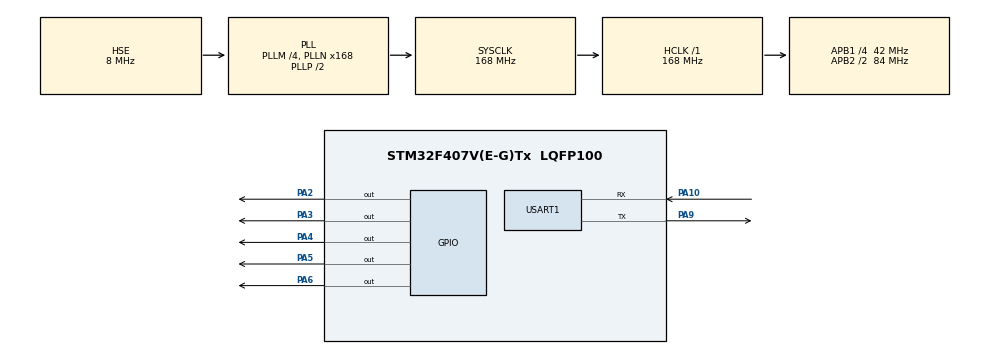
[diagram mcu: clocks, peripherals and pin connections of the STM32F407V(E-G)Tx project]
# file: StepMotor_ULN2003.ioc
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Mcu.Family=STM32F4
Mcu.Name=STM32F407V(E-G)Tx
Mcu.Package=LQFP100
NVIC.PriorityGroup=NVIC_PRIORITYGROUP_4
NVIC.TIM4_IRQn=true\:0\:0\:false\:false\:true\:true\:true\:true
NVIC.TIM8_TRG_COM_TIM14_IRQn=true\:15\:0\:false\:false\:true\:false\:true\:true
NVIC.TimeBase=TIM8_TRG_COM_TIM14_IRQn
NVIC.TimeBaseIP=TIM14
NVIC.USART1_IRQn=true\:0\:0\:false\:false\:true\:true\:true\:true
PA10.Mode=Asynchronous
PA10.Signal=USART1_RX
PA13.Mode=Serial_Wire
PA13.Signal=SYS_JTMS-SWDIO
PA14.Mode=Serial_Wire
PA14.Signal=SYS_JTCK-SWCLK
PA2.PinState=GPIO_PIN_RESET
PA2.Signal=GPIO_Output
PA3.PinState=GPIO_PIN_SET
PA3.Signal=GPIO_Output
PA4.PinState=GPIO_PIN_SET
PA4.Signal=GPIO_Output
PA5.PinState=GPIO_PIN_SET
PA5.Signal=GPIO_Output
PA6.PinState=GPIO_PIN_SET
PA6.Signal=GPIO_Output
PA9.Mode=Asynchronous
PA9.Signal=USART1_TX
PH0-OSC_IN.Mode=HSE-External-Oscillator
PH0-OSC_IN.Signal=RCC_OSC_IN
PH1-OSC_OUT.Mode=HSE-External-Oscillator
PH1-OSC_OUT.Signal=RCC_OSC_OUT
ProjectManager.HeapSize=0x200
ProjectManager.StackSize=0x400
ProjectManager.TargetToolchain=STM32CubeIDE
RCC.48MHZClocksFreq_Value=84000000
RCC.AHBFreq_Value=168000000
RCC.APB1CLKDivider=RCC_HCLK_DIV4
RCC.APB1Freq_Value=42000000
RCC.APB1TimFreq_Value=84000000
RCC.APB2CLKDivider=RCC_HCLK_DIV2
RCC.APB2Freq_Value=84000000
RCC.APB2TimFreq_Value=168000000
RCC.CortexFreq_Value=168000000
RCC.HCLKFreq_Value=168000000
RCC.HSE_VALUE=8000000
RCC.HSI_VALUE=16000000
RCC.LSE_VALUE=32768
RCC.PLLM=4
RCC.PLLN=168
RCC.PLLSourceVirtual=RCC_PLLSOURCE_HSE
RCC.SYSCLKFreq_VALUE=168000000
RCC.SYSCLKSource=RCC_SYSCLKSOURCE_PLLCLK
RCC.VCOOutputFreq_Value=336000000
TIM4.Period=2000-1
TIM4.Prescaler=42000
USART1.VirtualMode=VM_ASYNC
VP_SYS_VS_tim14.Mode=TIM14
VP_TIM4_VS_ClockSourceINT.Mode=Internal
board=custom

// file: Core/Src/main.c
/* USER CODE BEGIN Header */
/**
  ******************************************************************************
  * @file           : main.c
  * @brief          : Main program body
  ******************************************************************************
  * @attention
  *
  * Copyright (c) 2025 STMicroelectronics.
  * All rights reserved.
  *
  * This software is licensed under terms that can be found in the LICENSE file
  * in the root directory of this software component.
  * If no LICENSE file comes with this software, it is provided AS-IS.
  *
  ******************************************************************************
  */
/* USER CODE END Header */
#include "main.h"

/* USER CODE BEGIN Includes */
#include <stdbool.h>
/* USER CODE END Includes */

TIM_HandleTypeDef htim4;

UART_HandleTypeDef huart1;

/* USER CODE BEGIN PV */
int phase = 0;
int _step = -1; // Если у шага поменять знак, на -1 - изменится направление вращения.
//uint32_t step = 0;
/* USER CODE END PV */

void SystemClock_Config(void);
static void MX_GPIO_Init(void);
static void MX_TIM4_Init(void);
static void MX_USART1_UART_Init(void);
/* USER CODE BEGIN PFP */
void init(void);
void loop(void);
/* USER CODE END PFP */

/* USER CODE BEGIN 0 */
//
void init()
{
	HAL_TIM_Base_Start_IT(&htim4);

	return;
}

//
void loop()
{
	// https://codius.ru/articles/Arduino_Uno_%D1%88%D0%B0%D0%B3%D0%BE%D0%B2%D1%8B%D0%B9_%D0%B4%D0%B2%D0%B8%D0%B3%D0%B0%D1%82%D0%B5%D0%BB%D1%8C_28BYJ_48_5V_%D0%B4%D1%80%D0%B0%D0%B9%D0%B2%D0%B5%D1%80_ULN2003_%D0%BD%D0%B0_%D0%BC%D0%BE%D0%B4%D1%83%D0%BB%D0%B5_SBT0811
	uint16_t pins[] = {  //Задаем пины по порядку
			GPIO_PIN_2, // In1
			GPIO_PIN_3, // In2
			GPIO_PIN_4, // In3
			GPIO_PIN_5  // In4
	};

//	int phases = 8; // для шагового режима установить 4

	// Для шагового режима
//	bool motorPhases[4][4] = { // [phase][pin]
//	// -------- pins ----------
//	// Winding    A  B  A  B
//	// Motor Pin  1  2  3  4
//	  {           1, 1, 0, 0},
//	  {           0, 1, 1, 0},
//	  {           0, 0, 1, 1},
//	  {           1, 0, 0, 1}
//	};

	// Для полушагового режима
	bool motorPhases[8][4] = { // [phase][pin]
	  // -------- pins ----------
	  // Winding    A  B  A  B
	  // Motor Pin  1  2  3  4
	  {             1, 1, 0, 0},
	  {             0, 1, 0, 0},
	  {             0, 1, 1, 0},
	  {             0, 0, 1, 0},
	  {             0, 0, 1, 1},
	  {             0, 0, 0, 1},
	  {             1, 0, 0, 1},
	  {             1, 0, 0, 0}
	};

	phase += _step;

	if (phase > 7) phase = 0;
	if (phase < 0) phase = 7;

	for (int i = 0; i < 4; i++) {
		HAL_GPIO_WritePin(GPIOA, pins[i], ((motorPhases[phase][i] == 1) ? GPIO_PIN_RESET : GPIO_PIN_SET));
	}
	// Пауза на вращение на один шаг/полушаг
	// Для шагового режима установить в 3
	HAL_Delay(2);

	return;
}
/* USER CODE END 0 */

int main(void)
{

  /* MCU Configuration--------------------------------------------------------*/

  /* Reset of all peripherals, Initializes the Flash interface and the Systick. */
  HAL_Init();

  /* Configure the system clock */
  SystemClock_Config();

  /* Initialize all configured peripherals */
  MX_GPIO_Init();
  MX_TIM4_Init();
  MX_USART1_UART_Init();
  /* USER CODE BEGIN 2 */
  init();
  /* USER CODE END 2 */

  /* Infinite loop */
  /* USER CODE BEGIN WHILE */
  while (1)
  {
	loop();
    /* USER CODE END WHILE */

  }
}

void SystemClock_Config(void)
{
  RCC_OscInitTypeDef RCC_OscInitStruct = {0};
  RCC_ClkInitTypeDef RCC_ClkInitStruct = {0};

  /** Configure the main internal regulator output voltage
  */
  __HAL_RCC_PWR_CLK_ENABLE();
  __HAL_PWR_VOLTAGESCALING_CONFIG(PWR_REGULATOR_VOLTAGE_SCALE1);

  /** Initializes the RCC Oscillators according to the specified parameters
  * in the RCC_OscInitTypeDef structure.
  */
  RCC_OscInitStruct.OscillatorType = RCC_OSCILLATORTYPE_HSE;
  RCC_OscInitStruct.HSEState = RCC_HSE_ON;
  RCC_OscInitStruct.PLL.PLLState = RCC_PLL_ON;
  RCC_OscInitStruct.PLL.PLLSource = RCC_PLLSOURCE_HSE;
  RCC_OscInitStruct.PLL.PLLM = 4;
  RCC_OscInitStruct.PLL.PLLN = 168;
  RCC_OscInitStruct.PLL.PLLP = RCC_PLLP_DIV2;
  RCC_OscInitStruct.PLL.PLLQ = 4;
  if (HAL_RCC_OscConfig(&RCC_OscInitStruct) != HAL_OK)
  {
    Error_Handler();
  }

  /** Initializes the CPU, AHB and APB buses clocks
  */
  RCC_ClkInitStruct.ClockType = RCC_CLOCKTYPE_HCLK|RCC_CLOCKTYPE_SYSCLK
                              |RCC_CLOCKTYPE_PCLK1|RCC_CLOCKTYPE_PCLK2;
  RCC_ClkInitStruct.SYSCLKSource = RCC_SYSCLKSOURCE_PLLCLK;
  RCC_ClkInitStruct.AHBCLKDivider = RCC_SYSCLK_DIV1;
  RCC_ClkInitStruct.APB1CLKDivider = RCC_HCLK_DIV4;
  RCC_ClkInitStruct.APB2CLKDivider = RCC_HCLK_DIV2;

  if (HAL_RCC_ClockConfig(&RCC_ClkInitStruct, FLASH_LATENCY_5) != HAL_OK)
  {
    Error_Handler();
  }
}

static void MX_TIM4_Init(void)
{

  TIM_ClockConfigTypeDef sClockSourceConfig = {0};
  TIM_MasterConfigTypeDef sMasterConfig = {0};

  htim4.Instance = TIM4;
  htim4.Init.Prescaler = 42000;
  htim4.Init.CounterMode = TIM_COUNTERMODE_UP;
  htim4.Init.Period = 2000-1;
  htim4.Init.ClockDivision = TIM_CLOCKDIVISION_DIV1;
  htim4.Init.AutoReloadPreload = TIM_AUTORELOAD_PRELOAD_DISABLE;
  if (HAL_TIM_Base_Init(&htim4) != HAL_OK)
  {
    Error_Handler();
  }
  sClockSourceConfig.ClockSource = TIM_CLOCKSOURCE_INTERNAL;
  if (HAL_TIM_ConfigClockSource(&htim4, &sClockSourceConfig) != HAL_OK)
  {
    Error_Handler();
  }
  sMasterConfig.MasterOutputTrigger = TIM_TRGO_RESET;
  sMasterConfig.MasterSlaveMode = TIM_MASTERSLAVEMODE_DISABLE;
  if (HAL_TIMEx_MasterConfigSynchronization(&htim4, &sMasterConfig) != HAL_OK)
  {
    Error_Handler();
  }

}

static void MX_USART1_UART_Init(void)
{

  huart1.Instance = USART1;
  huart1.Init.BaudRate = 115200;
  huart1.Init.WordLength = UART_WORDLENGTH_8B;
  huart1.Init.StopBits = UART_STOPBITS_1;
  huart1.Init.Parity = UART_PARITY_NONE;
  huart1.Init.Mode = UART_MODE_TX_RX;
  huart1.Init.HwFlowCtl = UART_HWCONTROL_NONE;
  huart1.Init.OverSampling = UART_OVERSAMPLING_16;
  if (HAL_UART_Init(&huart1) != HAL_OK)
  {
    Error_Handler();
  }

}

static void MX_GPIO_Init(void)
{
  GPIO_InitTypeDef GPIO_InitStruct = {0};

  /* GPIO Ports Clock Enable */
  __HAL_RCC_GPIOH_CLK_ENABLE();
  __HAL_RCC_GPIOA_CLK_ENABLE();

  /*Configure GPIO pin Output Level */
  HAL_GPIO_WritePin(GPIOA, GPIO_PIN_2, GPIO_PIN_RESET);

  /*Configure GPIO pin Output Level */
  HAL_GPIO_WritePin(GPIOA, GPIO_PIN_3|GPIO_PIN_4|GPIO_PIN_5|GPIO_PIN_6, GPIO_PIN_SET);

  /*Configure GPIO pins : PA2 PA3 PA4 PA5
                           PA6 */
  GPIO_InitStruct.Pin = GPIO_PIN_2|GPIO_PIN_3|GPIO_PIN_4|GPIO_PIN_5
                          |GPIO_PIN_6;
  GPIO_InitStruct.Mode = GPIO_MODE_OUTPUT_PP;
  GPIO_InitStruct.Pull = GPIO_NOPULL;
  GPIO_InitStruct.Speed = GPIO_SPEED_FREQ_LOW;
  HAL_GPIO_Init(GPIOA, &GPIO_InitStruct);

}

void HAL_TIM_PeriodElapsedCallback(TIM_HandleTypeDef *htim)
{
  if (htim->Instance == TIM14)
  {
    HAL_IncTick();
  }
  /* USER CODE BEGIN Callback 1 */
  if (htim->Instance == TIM4)
  {
    HAL_GPIO_TogglePin(GPIOA, GPIO_PIN_6);
  }

  /* USER CODE END Callback 1 */
}

void Error_Handler(void)
{
  __disable_irq();
  while (1)
  {
  }
}
